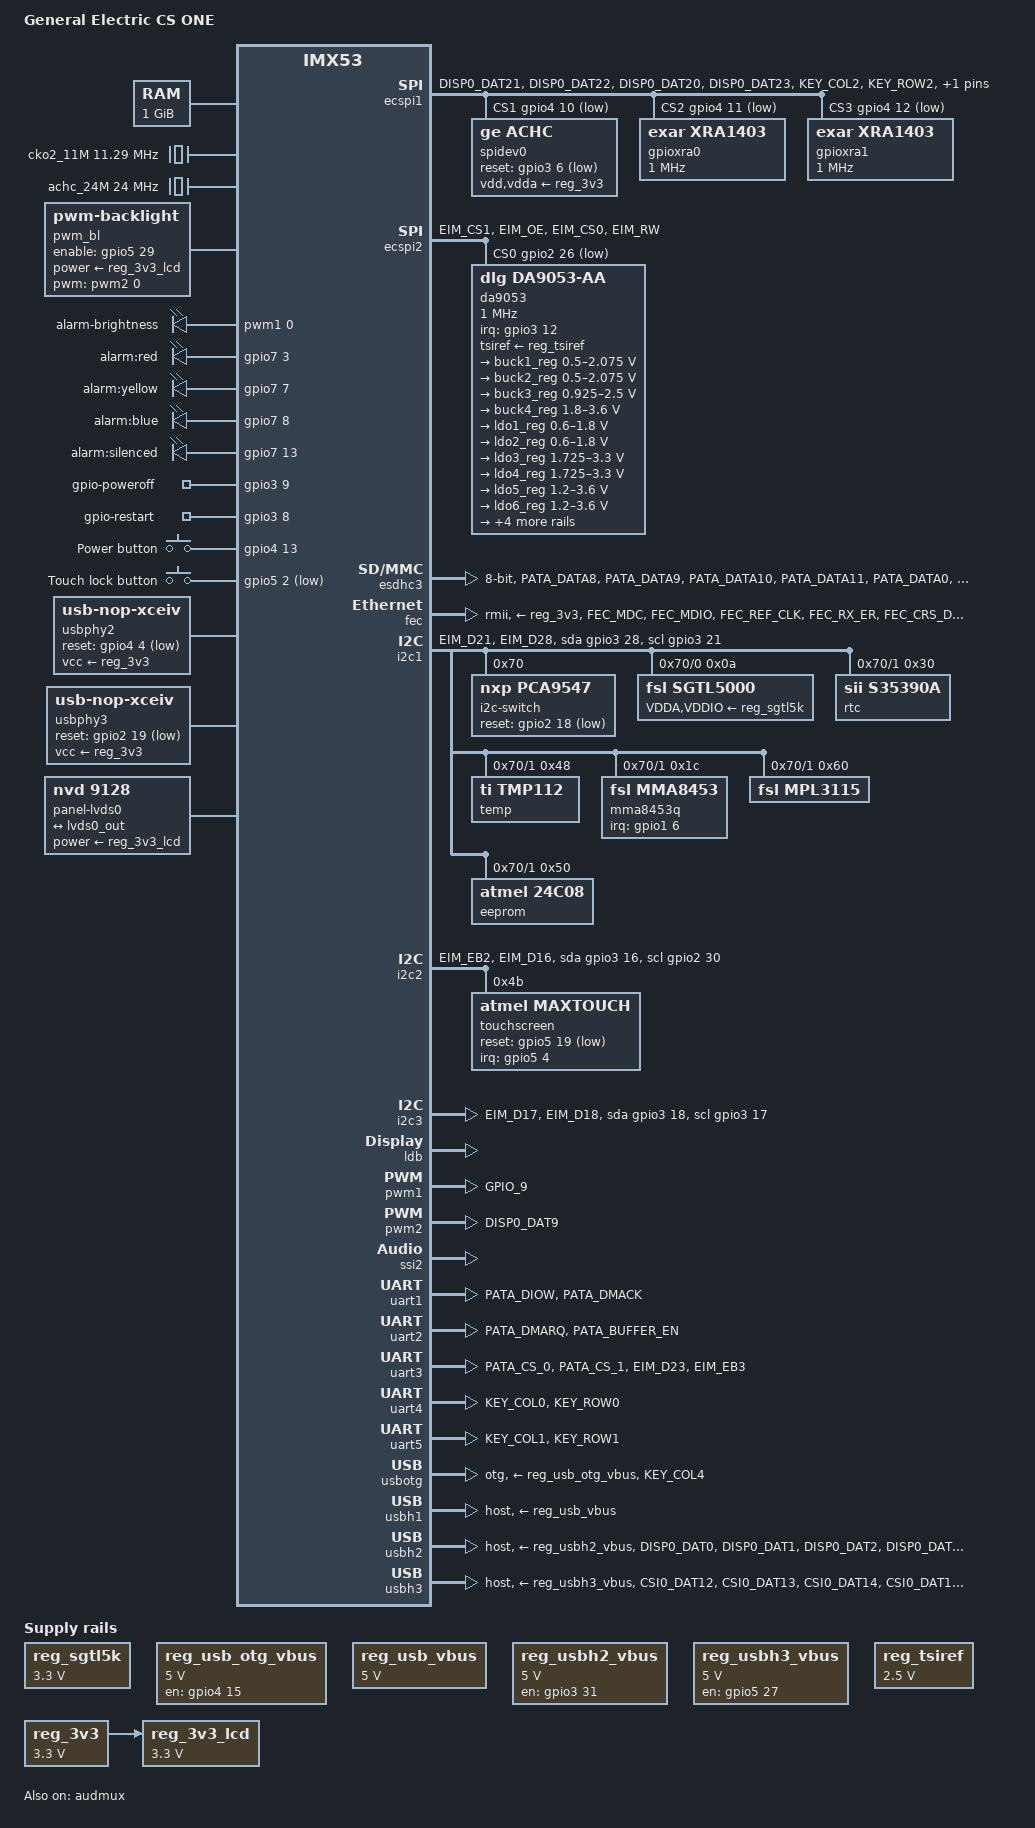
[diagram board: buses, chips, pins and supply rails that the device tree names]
/*
 * Copyright 2014 General Electric Company
 *
 * This file is dual-licensed: you can use it either under the terms
 * of the GPL or the X11 license, at your option. Note that this dual
 * licensing only applies to this file, and not this project as a
 * whole.
 *
 *  a) This file is free software; you can redistribute it and/or
 *     modify it under the terms of the GNU General Public License
 *     version 2 as published by the Free Software Foundation.
 *
 *     This file is distributed in the hope that it will be useful,
 *     but WITHOUT ANY WARRANTY; without even the implied warranty of
 *     MERCHANTABILITY or FITNESS FOR A PARTICULAR PURPOSE.  See the
 *     GNU General Public License for more details.
 *
 * Or, alternatively,
 *
 *  b) Permission is hereby granted, free of charge, to any person
 *     obtaining a copy of this software and associated documentation
 *     files (the "Software"), to deal in the Software without
 *     restriction, including without limitation the rights to use,
 *     copy, modify, merge, publish, distribute, sublicense, and/or
 *     sell copies of the Software, and to permit persons to whom the
 *     Software is furnished to do so, subject to the following
 *     conditions:
 *
 *     The above copyright notice and this permission notice shall be
 *     included in all copies or substantial portions of the Software.
 *
 *     THE SOFTWARE IS PROVIDED "AS IS", WITHOUT WARRANTY OF ANY KIND,
 *     EXPRESS OR IMPLIED, INCLUDING BUT NOT LIMITED TO THE WARRANTIES
 *     OF MERCHANTABILITY, FITNESS FOR A PARTICULAR PURPOSE AND
 *     NONINFRINGEMENT. IN NO EVENT SHALL THE AUTHORS OR COPYRIGHT
 *     HOLDERS BE LIABLE FOR ANY CLAIM, DAMAGES OR OTHER LIABILITY,
 *     WHETHER IN AN ACTION OF CONTRACT, TORT OR OTHERWISE, ARISING
 *     FROM, OUT OF OR IN CONNECTION WITH THE SOFTWARE OR THE USE OR
 *     OTHER DEALINGS IN THE SOFTWARE.
 */

/dts-v1/;

#include "imx53.dtsi"
#include <dt-bindings/input/input.h>

/ {
	model = "General Electric CS ONE";
	compatible = "ge,imx53-cpuvo", "fsl,imx53";

	aliases {
		spi0 = &cspi;
		spi1 = &ecspi1;
		spi2 = &ecspi2;
	};

	chosen {
		stdout-path = "serial0:115200n8";
	};

	memory@70000000 {
		device_type = "memory";
		reg = <0x70000000 0x20000000>,
		      <0xb0000000 0x20000000>;
	};

	cko2_11M: sgtl-clock-cko2 {
		compatible = "fixed-clock";
		#clock-cells = <0>;
		clock-frequency = <11289600>;
	};

	achc_24M: achc-clock {
		compatible = "fixed-clock";
		#clock-cells = <0>;
		clock-frequency = <24000000>;
	};

	sgtlsound: sound {
		compatible = "fsl,imx53-cpuvo-sgtl5000",
			     "fsl,imx-audio-sgtl5000";
		model = "imx53-cpuvo-sgtl5000";
		ssi-controller = <&ssi2>;
		audio-codec = <&sgtl5000>;
		audio-routing =
			"MIC_IN", "Mic Jack",
			"Mic Jack", "Mic Bias",
			"Headphone Jack", "HP_OUT";
		mux-int-port = <2>;
		mux-ext-port = <6>;
	};

	reg_sgtl5k: regulator-sgtl5k {
		compatible = "regulator-fixed";
		regulator-name = "regulator-sgtl5k";
		regulator-min-microvolt = <3300000>;
		regulator-max-microvolt = <3300000>;
		regulator-always-on;
	};

	reg_usb_otg_vbus: regulator-usb-otg-vbus {
		compatible = "regulator-fixed";
		regulator-name = "usbotg_vbus";
		regulator-min-microvolt = <5000000>;
		regulator-max-microvolt = <5000000>;
		pinctrl-0 = <&pinctrl_usb_otg_vbus>;
		gpio = <&gpio4 15 GPIO_ACTIVE_HIGH>;
		enable-active-high;
	};

	reg_usb_vbus: regulator-usb-vbus {
		compatible = "regulator-fixed";
		regulator-name = "usbh1_vbus";
		regulator-min-microvolt = <5000000>;
		regulator-max-microvolt = <5000000>;
		regulator-always-on;
	};

	reg_usbh2_vbus: regulator-usbh2-vbus {
		compatible = "regulator-fixed";
		regulator-name = "usbh2_vbus";
		regulator-min-microvolt = <5000000>;
		regulator-max-microvolt = <5000000>;
		pinctrl-names = "default";
		pinctrl-0 = <&pinctrl_usbh2_vbus>;
		gpio = <&gpio3 31 GPIO_ACTIVE_HIGH>;
		enable-active-high;
	};

	reg_usbh3_vbus: regulator-usbh3-vbus {
		compatible = "regulator-fixed";
		regulator-name = "usbh3_vbus";
		regulator-min-microvolt = <5000000>;
		regulator-max-microvolt = <5000000>;
		pinctrl-names = "default";
		pinctrl-0 = <&pinctrl_usbh3_vbus>;
		gpio = <&gpio5 27 GPIO_ACTIVE_HIGH>;
		enable-active-high;
	};

	reg_tsiref: regulator-tsiref {
		compatible = "regulator-fixed";
		regulator-name = "tsiref";
		regulator-min-microvolt = <2500000>;
		regulator-max-microvolt = <2500000>;
		regulator-always-on;
	};

	reg_3v3: regulator-3v3 {
		/* TPS54320 */
		compatible = "regulator-fixed";
		regulator-name = "3V3";
		regulator-min-microvolt = <3300000>;
		regulator-max-microvolt = <3300000>;
		regulator-always-on;
	};

	reg_3v3_lcd: regulator-3v3-lcd {
		/* MIC2009 */
		compatible = "regulator-fixed";
		regulator-name = "LCD_3V3";
		vin-supply = <&reg_3v3>;
		regulator-min-microvolt = <3300000>;
		regulator-max-microvolt = <3300000>;
		regulator-always-on;
	};

	pwm_bl: backlight {
		compatible = "pwm-backlight";
		pwms = <&pwm2 0 50000>;
		brightness-levels = <0 2 5 7 10 12 15 17 20 22 25 28 30 33 35
				     38 40 43 45 48 51 53 56 58 61 63 66 68 71
				     73 76 79 81 84 86 89 91 94 96 99 102 104
				     107 109 112 114 117 119 122 124 127 130
				     132 135 137 140 142 145 147 150 153 155
				     158 160 163 165 168 170 173 175 178 181
				     183 186 188 191 193 196 198 201 204 206
				     209 211 214 216 219 221 224 226 229 232
				     234 237 239 242 244 247 249 252 255>;
		default-brightness-level = <0>;
		enable-gpios = <&gpio5 29 GPIO_ACTIVE_HIGH>;
		power-supply = <&reg_3v3_lcd>;
	};

	led-controller-1 {
		compatible = "pwm-leds";

		led-1 {
			label = "alarm-brightness";
			pwms = <&pwm1 0 100000>;
			max-brightness = <255>;
		};
	};

	led-controller-2 {
		compatible = "gpio-leds";
		pinctrl-names = "default";
		pinctrl-0 = <&pinctrl_alarmled_pins>;

		led-2 {
			label = "alarm:red";
			gpios = <&gpio7 3 GPIO_ACTIVE_HIGH>;
		};

		led-3 {
			label = "alarm:yellow";
			gpios = <&gpio7 7 GPIO_ACTIVE_HIGH>;
		};

		led-4 {
			label = "alarm:blue";
			gpios = <&gpio7 8 GPIO_ACTIVE_HIGH>;
		};

		led-5 {
			label = "alarm:silenced";
			gpios = <&gpio7 13 GPIO_ACTIVE_HIGH>;
		};
	};

	gpio-poweroff {
		compatible = "gpio-poweroff";
		gpios = <&gpio3 9 GPIO_ACTIVE_HIGH>;
	};

	gpio-restart {
		compatible = "gpio-restart";
		gpios = <&gpio3 8 GPIO_ACTIVE_HIGH>;
		active-delay = <100>;
		inactive-delay = <10>;
		wait-delay = <100>;
	};

	power-gpio-keys {
		compatible = "gpio-keys";

		power-button {
			label = "Power button";
			gpios = <&gpio4 13 GPIO_ACTIVE_HIGH>;
			linux,code = <KEY_POWER>;
		};
	};

	touch-lock-key {
		compatible = "gpio-keys";

		touch-lock-button {
			label = "Touch lock button";
			gpios = <&gpio5 2 GPIO_ACTIVE_LOW>;
			linux,code = <KEY_F12>;
		};
	};

	usbphy2: usbphy-2 {
		compatible = "usb-nop-xceiv";
		vcc-supply = <&reg_3v3>;
		reset-gpios = <&gpio4 4 GPIO_ACTIVE_LOW>;
		clock-names = "main_clk";
		clock-frequency = <24000000>;
		clocks = <&clks IMX5_CLK_CKO2>;
		assigned-clocks = <&clks IMX5_CLK_CKO2_SEL>, <&clks IMX5_CLK_OSC>;
		assigned-clock-parents = <&clks IMX5_CLK_OSC>;
	};

	usbphy3: usbphy-3 {
		compatible = "usb-nop-xceiv";
		vcc-supply = <&reg_3v3>;
		reset-gpios = <&gpio2 19 GPIO_ACTIVE_LOW>;
		clock-names = "main_clk";

		clock-frequency = <24000000>;
		clocks = <&clks IMX5_CLK_CKO2>;
		assigned-clocks = <&clks IMX5_CLK_CKO2_SEL>, <&clks IMX5_CLK_OSC>;
		assigned-clock-parents = <&clks IMX5_CLK_OSC>;
	};

	panel-lvds0 {
		compatible = "nvd,9128";
		power-supply = <&reg_3v3_lcd>;

		port {
			panel_in_lvds0: endpoint {
				remote-endpoint = <&lvds0_out>;
			};
		};
	};
};

&usbphy0 {
	vcc-supply = <&reg_3v3>;
};

&usbphy1 {
	vcc-supply = <&reg_3v3>;
};

&audmux {
	pinctrl-names = "default";
	pinctrl-0 = <&pinctrl_audmux>;
	status = "okay";
};

&cpu0 {
	/* CPU rated to 1GHz, not 1.2GHz as per the default settings */
	operating-points = <
		/* kHz   uV */
		166666  850000
		400000  900000
		800000  1050000
		1000000 1200000
	>;
};

&ecspi1 {
	pinctrl-names = "default";
	pinctrl-0 = <&pinctrl_ecspi1>;
	cs-gpios = <&gpio5 17 GPIO_ACTIVE_LOW
		    &gpio4 10 GPIO_ACTIVE_LOW
		    &gpio4 11 GPIO_ACTIVE_LOW
		    &gpio4 12 GPIO_ACTIVE_LOW>;
	status = "okay";

	spidev0: spi@1 {
		compatible = "ge,achc", "nxp,kinetis-k20";
		reg = <1>, <0>;
		vdd-supply = <&reg_3v3>;
		vdda-supply = <&reg_3v3>;
		clocks = <&achc_24M>;
		reset-gpios = <&gpio3 6 GPIO_ACTIVE_LOW>;
	};

	gpioxra0: gpio@2 {
		compatible = "exar,xra1403";
		reg = <2>;
		gpio-controller;
		#gpio-cells = <2>;
		spi-max-frequency = <1000000>;
	};

	gpioxra1: gpio@3 {
		compatible = "exar,xra1403";
		reg = <3>;
		gpio-controller;
		#gpio-cells = <2>;
		spi-max-frequency = <1000000>;
	};
};

&ecspi2 {
	pinctrl-names = "default";
	pinctrl-0 = <&pinctrl_ecspi2>;
	cs-gpios = <&gpio2 26 GPIO_ACTIVE_LOW>;
	status = "okay";

	da9053@0 {
		compatible = "dlg,da9053-aa";
		reg = <0>;
		interrupt-parent = <&gpio3>;
		interrupts = <12 IRQ_TYPE_LEVEL_LOW>;
		spi-max-frequency = <1000000>;
		dlg,tsi-as-adc;
		tsiref-supply = <&reg_tsiref>;

		regulators {
			buck1_reg: buck1 {
				regulator-name = "BUCKCORE";
				regulator-min-microvolt = <500000>;
				regulator-max-microvolt = <2075000>;
				regulator-always-on;
			};

			buck2_reg: buck2 {
				regulator-name = "BUCKPRO";
				regulator-min-microvolt = <500000>;
				regulator-max-microvolt = <2075000>;
				regulator-always-on;
			};

			buck3_reg: buck3 {
				regulator-name = "BUCKMEM";
				regulator-min-microvolt = <925000>;
				regulator-max-microvolt = <2500000>;
				regulator-always-on;
			};

			buck4_reg: buck4 {
				regulator-name = "BUCKPERI";
				regulator-min-microvolt = <1800000>;
				regulator-max-microvolt = <3600000>;
				regulator-always-on;
			};

			ldo1_reg: ldo1 {
				regulator-name = "ldo1_1v3";
				regulator-min-microvolt = <600000>;
				regulator-max-microvolt = <1800000>;
				regulator-always-on;
			};

			ldo2_reg: ldo2 {
				regulator-name = "ldo2_1v3";
				regulator-min-microvolt = <600000>;
				regulator-max-microvolt = <1800000>;
				regulator-always-on;
			};

			ldo3_reg: ldo3 {
				regulator-name = "ldo3_3v3";
				regulator-min-microvolt = <1725000>;
				regulator-max-microvolt = <3300000>;
				regulator-always-on;
			};

			ldo4_reg: ldo4 {
				regulator-name = "ldo4_2v775";
				regulator-min-microvolt = <1725000>;
				regulator-max-microvolt = <3300000>;
				regulator-always-on;
			};

			ldo5_reg: ldo5 {
				regulator-name = "ldo5_3v3";
				regulator-min-microvolt = <1200000>;
				regulator-max-microvolt = <3600000>;
				regulator-always-on;
			};

			ldo6_reg: ldo6 {
				regulator-name = "ldo6_1v3";
				regulator-min-microvolt = <1200000>;
				regulator-max-microvolt = <3600000>;
				regulator-always-on;
			};

			ldo7_reg: ldo7 {
				regulator-name = "ldo7_2v75";
				regulator-min-microvolt = <1200000>;
				regulator-max-microvolt = <3600000>;
				regulator-always-on;
			};

			ldo8_reg: ldo8 {
				regulator-name = "ldo8_1v8";
				regulator-min-microvolt = <1200000>;
				regulator-max-microvolt = <3600000>;
				regulator-always-on;
			};

			ldo9_reg: ldo9 {
				regulator-name = "ldo9_1v5";
				regulator-min-microvolt = <1250000>;
				regulator-max-microvolt = <3650000>;
				regulator-always-on;
			};

			ldo10_reg: ldo10 {
				regulator-name = "ldo10_1v3";
				regulator-min-microvolt = <1200000>;
				regulator-max-microvolt = <3600000>;
				regulator-always-on;
			};
		};
	};

};

&esdhc3 {
	pinctrl-names = "default";
	pinctrl-0 = <&pinctrl_esdhc3>;
	bus-width = <8>;
	status = "okay";
};

&fec {
	pinctrl-names = "default";
	pinctrl-0 = <&pinctrl_fec>;
	phy-supply = <&reg_3v3>;
	phy-mode = "rmii";
	phy-reset-gpios = <&gpio2 16 GPIO_ACTIVE_LOW>;
	status = "okay";
};

&i2c1 {
	pinctrl-names = "default", "gpio";
	pinctrl-0 = <&pinctrl_i2c1>;
	pinctrl-1 = <&pinctrl_i2c1_gpio>;
	sda-gpios = <&gpio3 28 GPIO_ACTIVE_HIGH>;
	scl-gpios = <&gpio3 21 GPIO_ACTIVE_HIGH>;
	status = "okay";

	i2c-switch@70 {
		compatible = "nxp,pca9547";
		#address-cells = <1>;
		#size-cells = <0>;
		reg = <0x70>;
		reset-gpios = <&gpio2 18 GPIO_ACTIVE_LOW>;

		i2c4: i2c@0 {
			#address-cells = <1>;
			#size-cells = <0>;
			reg = <0>;

			sgtl5000: codec@a {
				compatible = "fsl,sgtl5000";
				reg = <0xa>;
				#sound-dai-cells = <0>;
				VDDA-supply = <&reg_sgtl5k>;
				VDDIO-supply = <&reg_sgtl5k>;
				clocks = <&cko2_11M>;
				status = "okay";
			};
		};

		i2c5: i2c@1 {
			#address-cells = <1>;
			#size-cells = <0>;
			reg = <1>;

			rtc@30 {
			       compatible = "sii,s35390a";
			       reg = <0x30>;
			};

			temp@48 {
				compatible = "ti,tmp112";
				reg = <0x48>;
			};

			mma8453q: accelerometer@1c {
				compatible = "fsl,mma8453";
				reg = <0x1c>;
				interrupt-parent = <&gpio1>;
				interrupts = <6 IRQ_TYPE_NONE>;
				interrupt-names = "INT1";
			};

			mpl3115: pressure-sensor@60 {
				compatible = "fsl,mpl3115";
				reg = <0x60>;
			};

			eeprom: eeprom@50 {
				compatible = "atmel,24c08";
				reg = <0x50>;
			};
		};

		i2c6: i2c@2 {
			#address-cells = <1>;
			#size-cells = <0>;
			reg = <2>;
		};

		i2c7: i2c@3 {
			#address-cells = <1>;
			#size-cells = <0>;
			reg = <3>;
		};

		i2c8: i2c@4 {
			#address-cells = <1>;
			#size-cells = <0>;
			reg = <4>;
		};

		i2c9: i2c@5 {
			#address-cells = <1>;
			#size-cells = <0>;
			reg = <5>;
		};

		i2c10: i2c@6 {
			#address-cells = <1>;
			#size-cells = <0>;
			reg = <6>;
		};

		i2c11: i2c@7 {
			#address-cells = <1>;
			#size-cells = <0>;
			reg = <7>;
		};
	};
};

&i2c2 {
	pinctrl-names = "default", "gpio";
	pinctrl-0 = <&pinctrl_i2c2>;
	pinctrl-1 = <&pinctrl_i2c2_gpio>;
	sda-gpios = <&gpio3 16 GPIO_ACTIVE_HIGH>;
	scl-gpios = <&gpio2 30 GPIO_ACTIVE_HIGH>;
	status = "okay";

	touchscreen@4b {
		compatible = "atmel,maxtouch";
		reset-gpio = <&gpio5 19 GPIO_ACTIVE_LOW>;
		reg = <0x4b>;
		interrupt-parent = <&gpio5>;
		interrupts = <4 IRQ_TYPE_LEVEL_LOW>;
	};
};

&i2c3 {
	pinctrl-names = "default", "gpio";
	pinctrl-0 = <&pinctrl_i2c3>;
	pinctrl-1 = <&pinctrl_i2c3_gpio>;
	sda-gpios = <&gpio3 18 GPIO_ACTIVE_HIGH>;
	scl-gpios = <&gpio3 17 GPIO_ACTIVE_HIGH>;
	status = "okay";
};

&ldb {
	status = "okay";

	lvds0: lvds-channel@0 {
		status = "okay";

		port@2 {
			lvds0_out: endpoint {
				remote-endpoint = <&panel_in_lvds0>;
			};
		};
	};
};

&pmu {
	secure-reg-access;
};

&pwm1 {
	#pwm-cells = <2>;
	pinctrl-names = "default";
	pinctrl-0 = <&pinctrl_pwm1>;
	status = "okay";
};

&pwm2 {
	#pwm-cells = <2>;
	pinctrl-names = "default";
	pinctrl-0 = <&pinctrl_pwm2>;
	status = "okay";
};

&ssi2 {
	status = "okay";
};

&uart1 {
	pinctrl-names = "default";
	pinctrl-0 = <&pinctrl_uart1>;
	status = "okay";
};

&uart2 {
	pinctrl-names = "default";
	pinctrl-0 = <&pinctrl_uart2>;
	fsl,dma-info = <24 20>;
	status = "okay";
};

&uart3 {
	pinctrl-names = "default";
	pinctrl-0 = <&pinctrl_uart3>;
	uart-has-rtscts;
	status = "okay";
};

&uart4 {
	pinctrl-names = "default";
	pinctrl-0 = <&pinctrl_uart4>;
	status = "okay";
};

&uart5 {
	pinctrl-names = "default";
	pinctrl-0 = <&pinctrl_uart5>;
	fsl,dma-info = <4096 4>;
	status = "okay";
};

&usbotg {
	dr_mode = "otg";
	phy_type = "utmi";
	vbus-supply = <&reg_usb_otg_vbus>;
	pinctrl-0 = <&pinctrl_usb_otg>;
	status = "okay";
};

&usbh1 {
	vbus-supply = <&reg_usb_vbus>;
	phy_type = "utmi";
	dr_mode = "host";
	status = "okay";
};

&usbh2 {
	pinctrl-names = "default";
	pinctrl-0 = <&pinctrl_usbh2>;
	phy_type = "ulpi";
	dr_mode = "host";
	fsl,usbphy = <&usbphy2>;
	vbus-supply = <&reg_usbh2_vbus>;
	status = "okay";
};

&usbh3 {
	pinctrl-names = "default";
	pinctrl-0 = <&pinctrl_usbh3>;
	phy_type = "ulpi";
	dr_mode = "host";
	vbus-supply = <&reg_usbh3_vbus>;
	fsl,usbphy = <&usbphy3>;
	status = "okay";
};

&iomuxc {
	pinctrl-names = "default";
	pinctrl-0 = <&pinctrl_hog_rev6>;

	pinctrl_audmux: audmuxgrp {
		fsl,pins = <
			MX53_PAD_DISP0_DAT19__AUDMUX_AUD5_RXD	0x400
			MX53_PAD_DISP0_DAT17__AUDMUX_AUD5_TXD	0x400
			MX53_PAD_DISP0_DAT16__AUDMUX_AUD5_TXC	0x400
			MX53_PAD_DISP0_DAT18__AUDMUX_AUD5_TXFS	0x400
			MX53_PAD_DI0_PIN15__AUDMUX_AUD6_TXC	0x400
			MX53_PAD_DI0_PIN3__AUDMUX_AUD6_TXFS	0x400
			MX53_PAD_DI0_PIN4__AUDMUX_AUD6_RXD	0x400
			MX53_PAD_DI0_PIN2__AUDMUX_AUD6_TXD	0x400
		>;
	};

	pinctrl_ecspi1: ecspi1grp {
		fsl,pins = <
			MX53_PAD_DISP0_DAT21__ECSPI1_MOSI	0x400
			MX53_PAD_DISP0_DAT22__ECSPI1_MISO	0x400
			MX53_PAD_DISP0_DAT20__ECSPI1_SCLK	0x400
			/* ECSPI1_SS0, must treat as GPIO for EzPort */
			MX53_PAD_DISP0_DAT23__GPIO5_17		0x400
			MX53_PAD_KEY_COL2__GPIO4_10		0x0
			MX53_PAD_KEY_ROW2__GPIO4_11		0x0
			MX53_PAD_KEY_COL3__GPIO4_12		0x0
		>;
	};

	pinctrl_ecspi2: ecspi2grp {
		fsl,pins = <
			MX53_PAD_EIM_CS1__ECSPI2_MOSI		0x0
			MX53_PAD_EIM_OE__ECSPI2_MISO		0x0
			MX53_PAD_EIM_CS0__ECSPI2_SCLK		0x0
			MX53_PAD_EIM_RW__GPIO2_26		0x0
		>;
	};

	pinctrl_esdhc1: esdhc1grp {
		fsl,pins = <
			MX53_PAD_SD1_DATA0__ESDHC1_DAT0		0x1d5
			MX53_PAD_SD1_DATA1__ESDHC1_DAT1		0x1d5
			MX53_PAD_SD1_DATA2__ESDHC1_DAT2		0x1d5
			MX53_PAD_SD1_DATA3__ESDHC1_DAT3		0x1d5
			MX53_PAD_SD1_CMD__ESDHC1_CMD		0x1d5
			MX53_PAD_SD1_CLK__ESDHC1_CLK		0x1d5
		>;
	};

	pinctrl_esdhc3: esdhc3grp {
		fsl,pins = <
			MX53_PAD_PATA_DATA8__ESDHC3_DAT0	0x1d5
			MX53_PAD_PATA_DATA9__ESDHC3_DAT1	0x1d5
			MX53_PAD_PATA_DATA10__ESDHC3_DAT2	0x1d5
			MX53_PAD_PATA_DATA11__ESDHC3_DAT3	0x1d5
			MX53_PAD_PATA_DATA0__ESDHC3_DAT4	0x1d5
			MX53_PAD_PATA_DATA1__ESDHC3_DAT5	0x1d5
			MX53_PAD_PATA_DATA2__ESDHC3_DAT6	0x1d5
			MX53_PAD_PATA_DATA3__ESDHC3_DAT7	0x1d5
			MX53_PAD_PATA_RESET_B__ESDHC3_CMD	0x1d5
			MX53_PAD_PATA_IORDY__ESDHC3_CLK		0x1d5
		>;
	};

	pinctrl_fec: fecgrp {
		fsl,pins = <
			MX53_PAD_FEC_MDC__FEC_MDC		0x0
			MX53_PAD_FEC_MDIO__FEC_MDIO		0x0
			MX53_PAD_FEC_REF_CLK__FEC_TX_CLK	0x0
			MX53_PAD_FEC_RX_ER__FEC_RX_ER		0x0
			MX53_PAD_FEC_CRS_DV__FEC_RX_DV		0x0
			MX53_PAD_FEC_RXD1__FEC_RDATA_1		0x0
			MX53_PAD_FEC_RXD0__FEC_RDATA_0		0x0
			MX53_PAD_FEC_TX_EN__FEC_TX_EN		0x0
			MX53_PAD_FEC_TXD1__FEC_TDATA_1		0x0
			MX53_PAD_FEC_TXD0__FEC_TDATA_0		0x0
		>;
	};

	pinctrl_hog_rev6: hoggrp {
		fsl,pins = <
			/* CKO2 */
			MX53_PAD_GPIO_3__CCM_CLKO2		0x4
			/* DEFIB_SYNC_MARKER_IN_IRQ */
			MX53_PAD_GPIO_5__GPIO1_5		0x0
			/* ACCELEROMETER_DATA_RDY_N */
			MX53_PAD_GPIO_6__GPIO1_6		0x0
			/* TEMPERATURE_ALERT_N */
			MX53_PAD_GPIO_7__GPIO1_7		0x0
			/* BAROMETRIC_PRESSURE_DATA_RDY_N */
			MX53_PAD_GPIO_8__GPIO1_8		0x0
			/* DOCKING_I2C_INTERFACE_IRQ_N */
			MX53_PAD_PATA_DATA4__GPIO2_4		0x0
			/* PWR_OUT_TO_DOCK_FAULT_N */
			MX53_PAD_PATA_DATA5__GPIO2_5		0x0
			/* ENABLE_PWR_TO_DOCK_N */
			MX53_PAD_PATA_DATA6__GPIO2_6		0x0
			/* HOST_CONTROLLED_RESET_TO_DOCKING_CONNECTOR_N */
			MX53_PAD_PATA_DATA7__GPIO2_7		0x0
			/* REMOTE_ON_REQUEST_FROM_DOCKING_CONNECTOR_IS_ACTIVE_N */
			MX53_PAD_PATA_DATA12__GPIO2_12		0x0
			/* DOCK_PRESENT_N */
			MX53_PAD_PATA_DATA13__GPIO2_13		0x0
			/* ECG_MARKER_IN_FROM_DOCKING_CONNECTOR_IRQ */
			MX53_PAD_PATA_DATA14__GPIO2_14		0x0
			/* ENABLE_ECG_MARKER_INTERFACE_TO_DOCKING_CONNECTOR */
			MX53_PAD_PATA_DATA15__GPIO2_15		0x0
			/* RESET_IMX535_ETHERNET_PHY_N */
			MX53_PAD_EIM_A22__GPIO2_16		0x0
			/* ENABLE_PWR_TO_LCD_AND_UI_INTERFACE */
			MX53_PAD_EIM_A21__GPIO2_17		0x0
			/* RESET_I2C1_BUS_SEGMENT_MUX_N */
			MX53_PAD_EIM_A20__GPIO2_18		0x0
			/* RESET_IMX535_USB_HOST3_PHY_N */
			MX53_PAD_EIM_A19__GPIO2_19		0x0
			/* ESDHC3_EMMC_NAND_RST_N */
			MX53_PAD_EIM_A18__GPIO2_20		0x0
			/* LCD_AND_UI_INTERFACE_PWR_FAULT_N */
			MX53_PAD_EIM_A17__GPIO2_21		0x0
			/* POWER_DOWN_LVDS0_DESERIALIZER_N */
			MX53_PAD_EIM_A16__GPIO2_22		0x0
			/* POWER_DOWN_LVDS1_DESERIALIZER_N */
			MX53_PAD_EIM_LBA__GPIO2_27		0x0
			/* RESET_DP0_TRANSMITTER_N */
			MX53_PAD_EIM_EB0__GPIO2_28		0x0
			/* RESET_DP1_TRANSMITTER_N */
			MX53_PAD_EIM_EB1__GPIO2_29		0x0
			/* ENABLE_SPDIF_AUDIO_TO_DP0 */
			MX53_PAD_EIM_DA0__GPIO3_0		0x0
			/* ENABLE_SPDIF_AUDIO_TO_DP1 */
			MX53_PAD_EIM_DA1__GPIO3_1		0x0
			/* LVDS1_MUX_CTRL */
			MX53_PAD_EIM_DA2__GPIO3_2		0x0
			/* LVDS0_MUX_CTRL */
			MX53_PAD_EIM_DA3__GPIO3_3		0x0
			/* DP1_TRANSMITTER_IRQ */
			MX53_PAD_EIM_DA4__GPIO3_4		0x0
			/* DP0_TRANSMITTER_IRQ */
			MX53_PAD_EIM_DA5__GPIO3_5		0x0
			/* USB_RESET_N */
			MX53_PAD_EIM_DA6__GPIO3_6		0x0
			/* ENABLE_BATTERY_CHARGER */
			MX53_PAD_EIM_DA7__GPIO3_7		0x0
			/* SOFTWARE_CONTROLLED_PWR_CYCLE */
			MX53_PAD_EIM_DA8__GPIO3_8		0x0
			/* SOFTWARE_CONTROLLED_POWERDOWN */
			MX53_PAD_EIM_DA9__GPIO3_9		0x0
			/* DC_PWR_IN_OK */
			MX53_PAD_EIM_DA10__GPIO3_10		0x0
			/* BATT_PRESENT_N */
			MX53_PAD_EIM_DA11__GPIO3_11		0xe4
			/* PMIC_IRQ_N */
			MX53_PAD_EIM_DA12__GPIO3_12		0x0
			/* PMIC_VDD_FAULT_STATUS_N */
			MX53_PAD_EIM_DA13__GPIO3_13		0x0
			/* IMX535_ETHERNET_PHY_STATUS_IRQ_N */
			MX53_PAD_EIM_DA14__GPIO3_14		0x0
			/* NOT USED - AVAILABLE 3.3V GPIO */
			MX53_PAD_EIM_DA15__GPIO3_15		0x0
			/* NOT USED - AVAILABLE 3.3V GPIO */
			MX53_PAD_EIM_D22__GPIO3_22		0x0
			/* NOT USED - AVAILABLE 3.3V GPIO */
			MX53_PAD_EIM_D24__GPIO3_24		0x0
			/* NBP_PUMP_VALVE_PWR_ENABLE */
			MX53_PAD_EIM_D25__GPIO3_25		0x0
			/* NIBP_RESET_N */
			MX53_PAD_EIM_D26__GPIO3_26		0x0
			/* LATCHED_OVERPRESSURE_N */
			MX53_PAD_EIM_D27__GPIO3_27		0x0
			/* NBP_SBWTCLK */
			MX53_PAD_EIM_D29__GPIO3_29		0x0
			/* ENABLE_WIFI_MODULE */
			MX53_PAD_GPIO_11__GPIO4_1		0x400
			/* WIFI_MODULE_IRQ_N */
			MX53_PAD_GPIO_12__GPIO4_2		0x400
			/* ENABLE_BLUETOOTH_MODULE */
			MX53_PAD_GPIO_13__GPIO4_3		0x400
			/* RESET_IMX535_USB_HOST2_PHY_N */
			MX53_PAD_GPIO_14__GPIO4_4		0x400
			/* ONKEY_IS_DEPRESSED */
			MX53_PAD_KEY_ROW3__GPIO4_13		0x0
			/* UNUSED_GPIO_TO_ALARM_LIGHT_BOARD */
			MX53_PAD_EIM_WAIT__GPIO5_0		0x0
			/* DISPLAY_LOCK_BUTTON_IS_DEPRESSED_N */
			MX53_PAD_EIM_A25__GPIO5_2		0x0
			/* I2C_PCAP_TOUCHSCREEN_IRQ_N */
			MX53_PAD_EIM_A24__GPIO5_4		0x0
			/* NOT USED - AVAILABLE 1.8V GPIO */
			MX53_PAD_DISP0_DAT13__GPIO5_7		0x400
			/* NOT USED - AVAILABLE 1.8V GPIO */
			MX53_PAD_DISP0_DAT14__GPIO5_8		0x400
			/* NOT USED - AVAILABLE 1.8V GPIO */
			MX53_PAD_DISP0_DAT15__GPIO5_9		0x400
			/* HOST_CONTROLLED_RESET_TO_LCD_N */
			MX53_PAD_CSI0_PIXCLK__GPIO5_18		0x0
			/* HOST_CONTROLLED_RESET_TO_PCAP_N */
			MX53_PAD_CSI0_MCLK__GPIO5_19		0x0
			/* LR_SCAN_CTRL */
			MX53_PAD_CSI0_DATA_EN__GPIO5_20		0x0
			/* UD_SCAN_CTRL */
			MX53_PAD_CSI0_VSYNC__GPIO5_21		0x0
			/* DATA_WIDTH_CTRL */
			MX53_PAD_CSI0_DAT10__GPIO5_28		0x0
			/* BACKLIGHT_ENABLE */
			MX53_PAD_CSI0_DAT11__GPIO5_29		0x0
			/* MED_USB_PORT_1_HOST_SELECT */
			MX53_PAD_EIM_A23__GPIO6_6		0x0
			/* MED_USB_PORT_2_HOST_SELECT */
			MX53_PAD_NANDF_CLE__GPIO6_7		0x0
			/* MED_USB_PORT_3_HOST_SELECT */
			MX53_PAD_NANDF_ALE__GPIO6_8		0x0
			/* MED_USB_PORT_4_HOST_SELECT */
			MX53_PAD_NANDF_WP_B__GPIO6_9		0x0
			/* MED_USB_PORT_5_HOST_SELECT */
			MX53_PAD_NANDF_RB0__GPIO6_10		0x0
			/* MED_USB_PORT_6_HOST_SELECT */
			MX53_PAD_NANDF_CS0__GPIO6_11		0x0
			/* MED_USB_PORT_7_HOST_SELECT */
			MX53_PAD_NANDF_WE_B__GPIO6_12		0x0
			/* MED_USB_PORT_8_HOST_SELECT */
			MX53_PAD_NANDF_RE_B__GPIO6_13		0x0
			/* MED_USB_PORT_TO_IMX_SELECT_0 */
			MX53_PAD_NANDF_CS1__GPIO6_14		0x0
			/* MED_USB_PORT_TO_IMX_SELECT_1 */
			MX53_PAD_NANDF_CS2__GPIO6_15		0x0
			/* MED_USB_PORT_TO_IMX_SELECT_2 */
			MX53_PAD_NANDF_CS3__GPIO6_16		0x0
			/* POWER_AND_BOOT_STATUS_INDICATOR */
			MX53_PAD_PATA_INTRQ__GPIO7_2		0x1e4
			/* RUNNING_ON_BATTERY_INDICATOR_GREEN */
			MX53_PAD_GPIO_16__GPIO7_11		0x0
			/* BATTERY_STATUS_INDICATOR_AMBER */
			MX53_PAD_GPIO_17__GPIO7_12		0x0
		>;
	};

	pinctrl_i2c1: i2c1grp {
		fsl,pins = <
			MX53_PAD_EIM_D21__I2C1_SCL		0x400001e4
			MX53_PAD_EIM_D28__I2C1_SDA		0x400001e4
		>;
	};

	pinctrl_i2c1_gpio: i2c1gpiogrp {
		fsl,pins = <
			MX53_PAD_EIM_D28__GPIO3_28		0x1e4
			MX53_PAD_EIM_D21__GPIO3_21		0x1e4
		>;
	};

	pinctrl_i2c2: i2c2grp {
		fsl,pins = <
			MX53_PAD_EIM_EB2__I2C2_SCL		0x400001e4
			MX53_PAD_EIM_D16__I2C2_SDA		0x400001e4
		>;
	};

	pinctrl_i2c2_gpio: i2c2gpiogrp {
		fsl,pins = <
			MX53_PAD_EIM_D16__GPIO3_16		0x1e4
			MX53_PAD_EIM_EB2__GPIO2_30		0x1e4
		>;
	};

	pinctrl_i2c3: i2c3grp {
		fsl,pins = <
			MX53_PAD_EIM_D17__I2C3_SCL		0x400001e4
			MX53_PAD_EIM_D18__I2C3_SDA		0x400001e4
		>;
	};

	pinctrl_i2c3_gpio: i2c3gpiogrp {
		fsl,pins = <
			MX53_PAD_EIM_D18__GPIO3_18		0x1e4
			MX53_PAD_EIM_D17__GPIO3_17		0x1e4
		>;
	};

	pinctrl_pwm1: pwm1grp {
		fsl,pins = <
			MX53_PAD_GPIO_9__PWM1_PWMO		0x5
		>;
	};

	pinctrl_pwm2: pwm2grp {
		fsl,pins = <
			MX53_PAD_DISP0_DAT9__PWM2_PWMO		0x5
		>;
	};

	pinctrl_uart1: uart1grp {
		fsl,pins = <
			MX53_PAD_PATA_DIOW__UART1_TXD_MUX	0x1e4
			MX53_PAD_PATA_DMACK__UART1_RXD_MUX	0x1e4
		>;
	};

	pinctrl_uart2: uart2grp {
		fsl,pins = <
			MX53_PAD_PATA_DMARQ__UART2_TXD_MUX	0x1e4
			MX53_PAD_PATA_BUFFER_EN__UART2_RXD_MUX	0x1e4
		>;
	};

	pinctrl_uart3: uart3grp {
		fsl,pins = <
			MX53_PAD_PATA_CS_0__UART3_TXD_MUX	0x1e4
			MX53_PAD_PATA_CS_1__UART3_RXD_MUX	0x1e4
			MX53_PAD_EIM_D23__UART3_CTS		0x1e4
			MX53_PAD_EIM_EB3__UART3_RTS		0x1e4
		>;
	};

	pinctrl_uart4: uart4grp {
		fsl,pins = <
			MX53_PAD_KEY_COL0__UART4_TXD_MUX	0x1e4
			MX53_PAD_KEY_ROW0__UART4_RXD_MUX	0x1e4
		>;
	};

	pinctrl_uart5: uart5grp {
		fsl,pins = <
			MX53_PAD_KEY_COL1__UART5_TXD_MUX	0x1e4
			MX53_PAD_KEY_ROW1__UART5_RXD_MUX	0x1e4
		>;
	};

	pinctrl_usb_otg_vbus: usb-otg-vbusgrp {
		fsl,pins = <
			/* USB_HS_OTG_VBUS_ENABLE */
			MX53_PAD_KEY_ROW4__GPIO4_15		0x1c4
		>;
	};

	pinctrl_usbh2: usbh2grp {
		fsl,pins = <
			/* USB H2 */
			MX53_PAD_DISP0_DAT0__USBOH3_USBH2_DATA_0 0x180
			MX53_PAD_DISP0_DAT1__USBOH3_USBH2_DATA_1 0x180
			MX53_PAD_DISP0_DAT2__USBOH3_USBH2_DATA_2 0x180
			MX53_PAD_DISP0_DAT3__USBOH3_USBH2_DATA_3 0x180
			MX53_PAD_DISP0_DAT4__USBOH3_USBH2_DATA_4 0x180
			MX53_PAD_DISP0_DAT5__USBOH3_USBH2_DATA_5 0x180
			MX53_PAD_DISP0_DAT6__USBOH3_USBH2_DATA_6 0x180
			MX53_PAD_DISP0_DAT7__USBOH3_USBH2_DATA_7 0x180
			MX53_PAD_DISP0_DAT10__USBOH3_USBH2_STP	 0x180
			MX53_PAD_DISP0_DAT11__USBOH3_USBH2_NXT	 0x180
			MX53_PAD_DISP0_DAT12__USBOH3_USBH2_CLK	 0x180
			MX53_PAD_DI0_DISP_CLK__USBOH3_USBH2_DIR	 0x5
			MX53_PAD_EIM_D30__USBOH3_USBH2_OC	 0x180
		>;
	};

	pinctrl_usbh2_vbus: usbh2-vbusgrp {
		fsl,pins = <
			/* USB_HS_HOST2_VBUS_ENABLE */
			MX53_PAD_EIM_D31__GPIO3_31		0x0
		>;
	};

	pinctrl_usbh3_vbus: usbh3-vbusgrp {
		fsl,pins = <
			/* USB_HS_HOST3_VBUS_ENABLE */
			MX53_PAD_CSI0_DAT9__GPIO5_27		0x0
		>;
	};

	pinctrl_usbh3: usbh3grp {
		fsl,pins = <
			/* USB H3 */
			MX53_PAD_CSI0_DAT12__USBOH3_USBH3_DATA_0 0x180
			MX53_PAD_CSI0_DAT13__USBOH3_USBH3_DATA_1 0x180
			MX53_PAD_CSI0_DAT14__USBOH3_USBH3_DATA_2 0x180
			MX53_PAD_CSI0_DAT15__USBOH3_USBH3_DATA_3 0x180
			MX53_PAD_CSI0_DAT16__USBOH3_USBH3_DATA_4 0x180
			MX53_PAD_CSI0_DAT17__USBOH3_USBH3_DATA_5 0x180
			MX53_PAD_CSI0_DAT18__USBOH3_USBH3_DATA_6 0x180
			MX53_PAD_CSI0_DAT19__USBOH3_USBH3_DATA_7 0x180
			MX53_PAD_CSI0_DAT7__USBOH3_USBH3_DIR	 0x5
			MX53_PAD_CSI0_DAT6__USBOH3_USBH3_CLK	 0x180
			MX53_PAD_CSI0_DAT5__USBOH3_USBH3_NXT	 0x180
			MX53_PAD_CSI0_DAT4__USBOH3_USBH3_STP	 0x180
			MX53_PAD_CSI0_DAT8__USBOH3_USBH3_OC	 0x180
		>;
	};

	pinctrl_usb_otg: usbotggrp {
		fsl,pins = <
			/* USB_OTG_FAULT_N */
			MX53_PAD_KEY_COL4__USBOH3_USBOTG_OC	0x180
		>;
	};

	pinctrl_alarmled_pins: qmx6alarmledgrp {
		fsl,pins = <
			/* ACTIVATE_ALARM_LIGHT_RED */
			MX53_PAD_PATA_DIOR__GPIO7_3		0x0
			/* ACTIVATE_ALARM_LIGHT_YELLOW */
			MX53_PAD_PATA_DA_1__GPIO7_7		0x0
			/* ACTIVATE_ALARM_LIGHT_CYAN */
			MX53_PAD_PATA_DA_2__GPIO7_8		0x0
			/* AUDIO_ALARMS_SILENCED_INDICATOR */
			MX53_PAD_GPIO_18__GPIO7_13		0x0
		>;
	};
};
